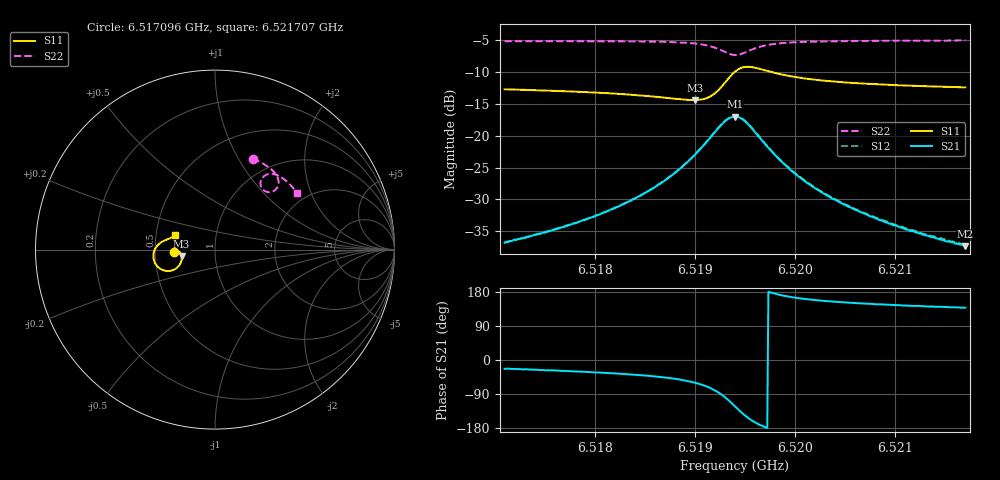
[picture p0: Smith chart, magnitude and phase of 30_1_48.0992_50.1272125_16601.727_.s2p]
#  HZ  S  RI  R  50.00
! Rohde & Schwarz Vector Network Analyzer
! Rohde-Schwarz,ZNB20-2Port,1311601062101988,3.16
! Created: UTC 12/23/2023, 3:37:34 AM
! freq[Hz]  re:S11  im:S11  re:S21  im:S21  re:S12  im:S12  re:S22  im:S22
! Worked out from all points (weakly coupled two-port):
!   401 points, 6.517096 GHz to 6.521707 GHz, reference 50 ohm
!   highest |S21| = -17.01 dB at 6.519401 GHz (marker M1); lowest = -37.3 dB at 6.521707 GHz (marker M2)
!   lowest |S11| = -14.4 dB at 6.518998 GHz (marker M3), VSWR 1.47, Z = 34.2 - j2.61 ohm
!   |S11| at or under -10 dB: start of sweep to 6.5194 GHz; 6.519756 GHz to end of sweep
!   |S22| runs from -7.4 to -5.1 dB; largest |S21 - S12| = 0.0043
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6.517096e9  -0.2301 -0.0152  0.0134 -0.00573  0.0136 -0.00522  0.2107 0.5065
6.5174879e9  -0.2255 -0.00954  0.0156 -0.00774  0.0158 -0.00719  0.2396 0.494
6.5178683e9  -0.2198 -0.00538  0.0185 -0.011  0.0187 -0.0105  0.2678 0.4793
6.5182487e9  -0.2121 -0.00383  0.0227 -0.0166  0.0233 -0.0159  0.2963 0.461
6.5184677e9  -0.206 -0.00513  0.0262 -0.0222  0.027 -0.0214  0.3133 0.4478
6.5186406e9  -0.2001 -0.009  0.0298 -0.0291  0.0306 -0.0283  0.3268 0.435
6.518825e9  -0.1928 -0.0181  0.0336 -0.0409  0.035 -0.0401  0.3411 0.4168
6.5189979e9  -0.1862 -0.0367  0.0356 -0.0609  0.0377 -0.0602  0.3524 0.3918
6.5191016e9  -0.1863 -0.0568  0.0322 -0.0802  0.0348 -0.0799  0.3541 0.3702
6.5191823e9  -0.1937 -0.0788  0.0222 -0.1002  0.0252 -0.1002  0.3488 0.3495
6.5193091e9  -0.2378 -0.1156  -0.0229 -0.1292  -0.0191 -0.1306  0.3144 0.3211
6.5194013e9  -0.2968 -0.1114  -0.0754 -0.1193  -0.0726 -0.1224  0.2732 0.3291
6.5194474e9  -0.3221 -0.0924  -0.0959 -0.0999  -0.0939 -0.1033  0.259 0.3457
6.5195051e9  -0.3401 -0.0602  -0.1082 -0.0699  -0.1071 -0.0735  0.2533 0.3708
6.5195973e9  -0.3403 -0.0134  -0.1036 -0.0297  -0.1034 -0.0329  0.2655 0.4018
6.519701e9  -0.3241 0.0186  -0.0861 -0.00484  -0.0865 -0.00743  0.2885 0.4181
6.5199546e9  -0.2881 0.0473  -0.0526 0.0126  -0.0535 0.0113  0.3336 0.4193
6.5201736e9  -0.27 0.0555  -0.0374 0.0144  -0.0382 0.0135  0.359 0.4091
6.5205424e9  -0.2522 0.0625  -0.0243 0.0132  -0.025 0.0127  0.39 0.3881
6.5209459e9  -0.2402 0.0682  -0.0169 0.0116  -0.0175 0.0113  0.4163 0.3641
6.5212686e9  -0.2334 0.0728  -0.0134 0.0104  -0.0138 0.0102  0.4347 0.3445
6.5217066e9  -0.2254 0.0787  -0.0101 0.00914  -0.0105 0.00912  0.4568 0.3174
